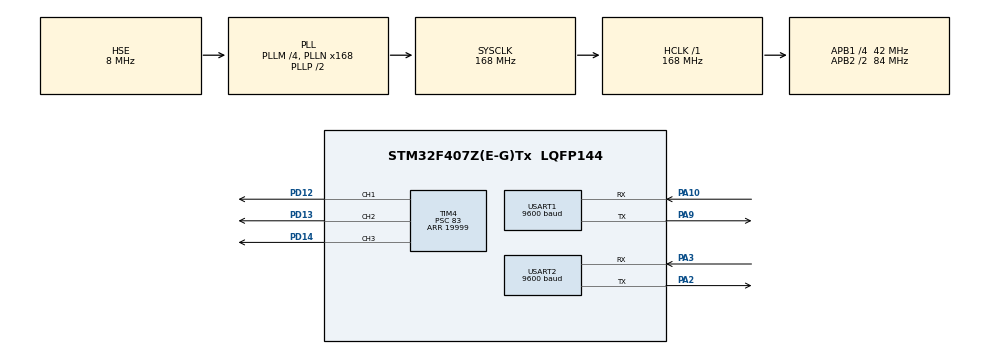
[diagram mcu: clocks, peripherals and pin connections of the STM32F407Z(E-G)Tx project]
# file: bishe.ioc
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Dma.Request0=USART1_RX
Dma.Request1=USART2_RX
Dma.USART1_RX.0.Direction=DMA_PERIPH_TO_MEMORY
Dma.USART1_RX.0.FIFOMode=DMA_FIFOMODE_DISABLE
Dma.USART1_RX.0.Instance=DMA2_Stream2
Dma.USART1_RX.0.MemDataAlignment=DMA_MDATAALIGN_BYTE
Dma.USART1_RX.0.MemInc=DMA_MINC_ENABLE
Dma.USART1_RX.0.Mode=DMA_CIRCULAR
Dma.USART1_RX.0.PeriphDataAlignment=DMA_PDATAALIGN_BYTE
Dma.USART1_RX.0.PeriphInc=DMA_PINC_DISABLE
Dma.USART1_RX.0.Priority=DMA_PRIORITY_HIGH
Dma.USART2_RX.1.Direction=DMA_PERIPH_TO_MEMORY
Dma.USART2_RX.1.FIFOMode=DMA_FIFOMODE_DISABLE
Dma.USART2_RX.1.Instance=DMA1_Stream5
Dma.USART2_RX.1.MemDataAlignment=DMA_MDATAALIGN_BYTE
Dma.USART2_RX.1.MemInc=DMA_MINC_ENABLE
Dma.USART2_RX.1.Mode=DMA_CIRCULAR
Dma.USART2_RX.1.PeriphDataAlignment=DMA_PDATAALIGN_BYTE
Dma.USART2_RX.1.PeriphInc=DMA_PINC_DISABLE
Dma.USART2_RX.1.Priority=DMA_PRIORITY_VERY_HIGH
Mcu.Family=STM32F4
Mcu.Name=STM32F407Z(E-G)Tx
Mcu.Package=LQFP144
NVIC.DMA1_Stream5_IRQn=true\:0\:0\:false\:false\:true\:false\:true\:true
NVIC.DMA2_Stream2_IRQn=true\:0\:0\:false\:false\:true\:false\:true\:true
NVIC.PriorityGroup=NVIC_PRIORITYGROUP_4
NVIC.TIM2_IRQn=true\:0\:0\:false\:false\:true\:true\:true\:true
NVIC.USART1_IRQn=true\:0\:0\:false\:false\:true\:true\:true\:true
NVIC.USART2_IRQn=true\:0\:0\:false\:false\:true\:true\:true\:true
PA10.Mode=Asynchronous
PA10.Signal=USART1_RX
PA13.Mode=Serial_Wire
PA13.Signal=SYS_JTMS-SWDIO
PA14.Mode=Serial_Wire
PA14.Signal=SYS_JTCK-SWCLK
PA2.Mode=Asynchronous
PA2.Signal=USART2_TX
PA3.Mode=Asynchronous
PA3.Signal=USART2_RX
PA9.Mode=Asynchronous
PA9.Signal=USART1_TX
PD12.Signal=S_TIM4_CH1
PD13.Signal=S_TIM4_CH2
PD14.Signal=S_TIM4_CH3
PH0-OSC_IN.Mode=HSE-External-Oscillator
PH0-OSC_IN.Signal=RCC_OSC_IN
PH1-OSC_OUT.Mode=HSE-External-Oscillator
PH1-OSC_OUT.Signal=RCC_OSC_OUT
ProjectManager.HeapSize=0x200
ProjectManager.StackSize=0x400
ProjectManager.TargetToolchain=MDK-ARM V5.32
RCC.48MHZClocksFreq_Value=84000000
RCC.AHBFreq_Value=168000000
RCC.APB1CLKDivider=RCC_HCLK_DIV4
RCC.APB1Freq_Value=42000000
RCC.APB1TimFreq_Value=84000000
RCC.APB2CLKDivider=RCC_HCLK_DIV2
RCC.APB2Freq_Value=84000000
RCC.APB2TimFreq_Value=168000000
RCC.CortexFreq_Value=168000000
RCC.HCLKFreq_Value=168000000
RCC.HSE_VALUE=8000000
RCC.HSI_VALUE=16000000
RCC.LSE_VALUE=32768
RCC.PLLM=4
RCC.PLLN=168
RCC.PLLSourceVirtual=RCC_PLLSOURCE_HSE
RCC.SYSCLKFreq_VALUE=168000000
RCC.SYSCLKSource=RCC_SYSCLKSOURCE_PLLCLK
RCC.VCOOutputFreq_Value=336000000
SH.S_TIM4_CH1.0=TIM4_CH1,PWM Generation1 CH1
SH.S_TIM4_CH2.0=TIM4_CH2,PWM Generation2 CH2
SH.S_TIM4_CH3.0=TIM4_CH3,PWM Generation3 CH3
TIM2.AutoReloadPreload=TIM_AUTORELOAD_PRELOAD_ENABLE
TIM2.Period=16799
TIM2.Prescaler=999
TIM2.TIM_MasterOutputTrigger=TIM_TRGO_UPDATE
TIM4.AutoReloadPreload=TIM_AUTORELOAD_PRELOAD_ENABLE
TIM4.Channel-PWM\ Generation1\ CH1=TIM_CHANNEL_1
TIM4.Channel-PWM\ Generation2\ CH2=TIM_CHANNEL_2
TIM4.Channel-PWM\ Generation3\ CH3=TIM_CHANNEL_3
TIM4.Period=19999
TIM4.Prescaler=83
USART1.BaudRate=9600
USART1.VirtualMode=VM_ASYNC
USART2.BaudRate=9600
USART2.VirtualMode=VM_ASYNC
VP_TIM2_VS_ClockSourceINT.Mode=Internal
VP_TIM4_VS_ClockSourceINT.Mode=Internal
board=custom

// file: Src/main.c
/* USER CODE BEGIN Header */
/**
  ******************************************************************************
  * @file           : main.c
  * @brief          : Main program body
  ******************************************************************************
  * @attention
  *
  * Copyright (c) 2025 STMicroelectronics.
  * All rights reserved.
  *
  * This software is licensed under terms that can be found in the LICENSE file
  * in the root directory of this software component.
  * If no LICENSE file comes with this software, it is provided AS-IS.
  *
  ******************************************************************************
  */
/* USER CODE END Header */
#include "main.h"
#include "dma.h"
#include "tim.h"
#include "usart.h"
#include "gpio.h"

/* USER CODE BEGIN Includes */
#include "stdio.h"
/* USER CODE END Includes */

/* USER CODE BEGIN PV */
#define UART_RX_BUFFER_SIZE 6   // 定义接收数据长度
#define UART_RX2_BUFFER_SIZE 4
uint8_t test[6]={0xAA,0xBB,0x01,0x02,0x01,0x5B};
uint8_t test1[6]={0xAA,0xBB,0x75,0x02,0x02,0x5B};
uint8_t test2[6]={0xAA,0xBB,0x01,0x22,0x03,0x5B};
uint8_t test3[6]={0xAA,0xBB,0xAB,0x43,0x04,0x5B};
uint8_t uart_rx_dma_buffer[UART_RX_BUFFER_SIZE];  // DMA 接收缓冲区
uint8_t uart_rx2_dma_buffer[UART_RX2_BUFFER_SIZE];
extern uint8_t rec_flag;
extern uint8_t obj_id;
extern uint8_t turnon;
extern uint8_t change_flag;
/* USER CODE END PV */

void SystemClock_Config(void);

/* USER CODE BEGIN 0 */

void Servo_SetAngle270(TIM_HandleTypeDef *htim, uint32_t channel, uint8_t angle, uint8_t speed)
{
    if (angle > 270)
		{
			angle = 270%360;
		}
    // 计算目标脉宽（单位：us）
    uint16_t pulse_result = 500 + (angle * 2000) / 270;

    // 获取当前脉宽
    uint16_t pulse_temp = __HAL_TIM_GET_COMPARE(htim, channel);

    while (abs(pulse_temp - pulse_result) > speed)
    {
        if (pulse_temp < pulse_result)
        {
            pulse_temp += speed;
        }
        else
        {
            pulse_temp -= speed;
        }

        __HAL_TIM_SET_COMPARE(htim, channel, pulse_temp);
        HAL_Delay(50); // 越小越快，可调
    }

    // 最后精确到目标值
    __HAL_TIM_SET_COMPARE(htim, channel, pulse_result);
}

void HAL_TIM_PeriodElapsedCallback(TIM_HandleTypeDef *htim)
	{

		 if(htim->Instance == TIM2)      //50Hz
	  {
			//printf("in tim2!\n");
       if(change_flag==1)
			 {
				 printf("change!\n");
				 change_flag=0;
				 Servo_SetAngle270(&htim4, TIM_CHANNEL_1, 135, 20);  //检测错误后，立刻归位，重新进入main函数选择更改后的投放方式
				 Servo_SetAngle270(&htim4, TIM_CHANNEL_2, 135, 20);
				 Servo_SetAngle270(&htim4, TIM_CHANNEL_3, 135, 20);
				 printf("识别纠正！\n");
								 if(uart_rx2_dma_buffer[2] == 0x01)
								 {
									 printf("应为纸板！\n");
								 }
								 else if(uart_rx2_dma_buffer[2] == 0x02)
								 {
									 printf("应为废纸！\n");
								 }
								 else if(uart_rx2_dma_buffer[2] == 0x03)
								 {
									 printf("应为瓶子！\n");
								 }
								 else if(uart_rx2_dma_buffer[2] == 0x04)
								 {
									 printf("应为电池！\n");
								 }
			 }
		}

	}

/* USER CODE END 0 */

int main(void)
{

  /* MCU Configuration--------------------------------------------------------*/

  /* Reset of all peripherals, Initializes the Flash interface and the Systick. */
  HAL_Init();

  /* Configure the system clock */
  SystemClock_Config();

  /* Initialize all configured peripherals */
  MX_GPIO_Init();
  MX_DMA_Init();
  MX_USART1_UART_Init();
  MX_USART2_UART_Init();
  MX_TIM4_Init();
  MX_TIM2_Init();
  /* USER CODE BEGIN 2 */
__HAL_TIM_SET_COMPARE(&htim4, TIM_CHANNEL_1, 1500);
__HAL_TIM_SET_COMPARE(&htim4, TIM_CHANNEL_2, 1500);
__HAL_TIM_SET_COMPARE(&htim4, TIM_CHANNEL_3, 1500);
	HAL_TIM_PWM_Start(&htim4, TIM_CHANNEL_1);
	HAL_TIM_PWM_Start(&htim4, TIM_CHANNEL_2);
	HAL_TIM_PWM_Start(&htim4, TIM_CHANNEL_3);
	//HAL_TIM_Base_Start_IT(&htim2);
	/*Servo_SetAngle270(&htim4, TIM_CHANNEL_3, 20, 20);
	HAL_Delay(2000);
	Servo_SetAngle270(&htim4, TIM_CHANNEL_3, 40, 20);
	HAL_Delay(2000);*/
	/*Servo_SetAngle270(&htim4, TIM_CHANNEL_3, 60, 20);
	HAL_Delay(2000);
	Servo_SetAngle270(&htim4, TIM_CHANNEL_3, 80, 20);
	HAL_Delay(2000);
	Servo_SetAngle270(&htim4, TIM_CHANNEL_3, 100, 20);
	HAL_Delay(2000);
	Servo_SetAngle270(&htim4, TIM_CHANNEL_3, 120, 20);
		HAL_Delay(2000);
	Servo_SetAngle270(&htim4, TIM_CHANNEL_3, 140, 20);
	HAL_Delay(2000);
	Servo_SetAngle270(&htim4, TIM_CHANNEL_3, 160, 20);*/
		/*Servo_SetAngle270(&htim4, TIM_CHANNEL_3, 40, 20);
		Servo_SetAngle270(&htim4, TIM_CHANNEL_1, 255, 20);
	  Servo_SetAngle270(&htim4, TIM_CHANNEL_3, 120, 20);
		HAL_Delay(2000);
		Servo_SetAngle270(&htim4, TIM_CHANNEL_1, 50, 20);
	  Servo_SetAngle270(&htim4, TIM_CHANNEL_2, 165, 20);
	  Servo_SetAngle270(&htim4, TIM_CHANNEL_3, 40, 20);
		HAL_Delay(2000);
		Servo_SetAngle270(&htim4, TIM_CHANNEL_1, 135, 20);
	  Servo_SetAngle270(&htim4, TIM_CHANNEL_2, 135, 20);
	  Servo_SetAngle270(&htim4, TIM_CHANNEL_3, 135, 20);*/
	/*Servo_SetAngle270(&htim4, TIM_CHANNEL_1, 135, 20);
	Servo_SetAngle270(&htim4, TIM_CHANNEL_2, 135, 20);
	Servo_SetAngle270(&htim4, TIM_CHANNEL_3, 135, 20);

	HAL_Delay(500);

		Servo_SetAngle270(&htim4, TIM_CHANNEL_1, 100, 20);
	Servo_SetAngle270(&htim4, TIM_CHANNEL_2, 100, 20);
	Servo_SetAngle270(&htim4, TIM_CHANNEL_3, 100, 20);*/
/*HAL_TIM_PWM_Start(&htim4, TIM_CHANNEL_1);
__HAL_TIM_SET_COMPARE(&htim4, TIM_CHANNEL_1, 1800); // 中位
HAL_Delay(2000);
__HAL_TIM_SET_COMPARE(&htim4, TIM_CHANNEL_1, 500);  // 最左
HAL_Delay(2000);
__HAL_TIM_SET_COMPARE(&htim4, TIM_CHANNEL_1, 2500); // 最右
HAL_Delay(2000);*/

/*HAL_TIM_PWM_Start(&htim4, TIM_CHANNEL_2);
__HAL_TIM_SET_COMPARE(&htim4, TIM_CHANNEL_2, 2000); // 中位
HAL_Delay(2000);*/
/*__HAL_TIM_SET_COMPARE(&htim4, TIM_CHANNEL_2, 500);  // 最左
HAL_Delay(2000);
__HAL_TIM_SET_COMPARE(&htim4, TIM_CHANNEL_2, 2500); // 最右
HAL_Delay(2000);*/

/*HAL_TIM_PWM_Start(&htim4, TIM_CHANNEL_3);
__HAL_TIM_SET_COMPARE(&htim4, TIM_CHANNEL_3, 2200); // 中位
HAL_Delay(2000);*/
/*__HAL_TIM_SET_COMPARE(&htim4, TIM_CHANNEL_3, 500);  // 最左
HAL_Delay(2000);
__HAL_TIM_SET_COMPARE(&htim4, TIM_CHANNEL_3, 2500); // 最右
HAL_Delay(2000);
*/
//uint8_t temp;
//HAL_UART_Receive_IT(&huart1, &temp, 1);  // 启动 UART 中断接收
HAL_UART_Receive_DMA(&huart1, uart_rx_dma_buffer, UART_RX_BUFFER_SIZE);
HAL_UART_Receive_DMA(&huart2, uart_rx2_dma_buffer, UART_RX2_BUFFER_SIZE);

  /* USER CODE END 2 */

  /* Infinite loop */
  while (1)
  {

    /* USER CODE BEGIN 3 */
//printf("1");
		if(change_flag==1)
			 {
				 printf("change!\n");
				 change_flag=0;
				 Servo_SetAngle270(&htim4, TIM_CHANNEL_1, 135, 20);  //检测错误后，立刻归位，重新进入main函数选择更改后的投放方式
				 Servo_SetAngle270(&htim4, TIM_CHANNEL_2, 135, 20);
				 Servo_SetAngle270(&htim4, TIM_CHANNEL_3, 135, 20);
				 printf("识别纠正！\n");
								 if(uart_rx2_dma_buffer[2] == 0x01)
								 {
									 printf("应为纸板！\n");
								 }
								 else if(uart_rx2_dma_buffer[2] == 0x02)
								 {
									 printf("应为废纸！\n");
								 }
								 else if(uart_rx2_dma_buffer[2] == 0x03)
								 {
									 printf("应为瓶子！\n");
								 }
								 else if(uart_rx2_dma_buffer[2] == 0x04)
								 {
									 printf("应为电池！\n");
								 }
							rec_flag=1;
			 }
		if(rec_flag==1&&turnon==0)
		{
			if(obj_id==1)//纸板
			{
		Servo_SetAngle270(&htim4, TIM_CHANNEL_3, 40, 20);// 爪子张开
		Servo_SetAngle270(&htim4, TIM_CHANNEL_1, 255, 20);  //向左倾斜
	  Servo_SetAngle270(&htim4, TIM_CHANNEL_3, 150, 20);  //爪子闭合
		HAL_Delay(500);
		Servo_SetAngle270(&htim4, TIM_CHANNEL_1, 50, 20);  //向右倾斜
	  Servo_SetAngle270(&htim4, TIM_CHANNEL_2, 155, 20);
	  Servo_SetAngle270(&htim4, TIM_CHANNEL_3, 40, 20);  //爪子放开
			}
			else if(obj_id==2)//废纸
			{
		Servo_SetAngle270(&htim4, TIM_CHANNEL_3, 40, 20);
		Servo_SetAngle270(&htim4, TIM_CHANNEL_1, 255, 20);
	  Servo_SetAngle270(&htim4, TIM_CHANNEL_3, 150, 20);
		HAL_Delay(500);
		Servo_SetAngle270(&htim4, TIM_CHANNEL_1, 50, 20);
	  Servo_SetAngle270(&htim4, TIM_CHANNEL_2, 195, 20);
	  Servo_SetAngle270(&htim4, TIM_CHANNEL_3, 40, 20);
			}
			else if(obj_id==3)//瓶子
			{
		Servo_SetAngle270(&htim4, TIM_CHANNEL_3, 40, 20);
		Servo_SetAngle270(&htim4, TIM_CHANNEL_1, 255, 20);
	  Servo_SetAngle270(&htim4, TIM_CHANNEL_3, 120, 20);
		HAL_Delay(500);
		Servo_SetAngle270(&htim4, TIM_CHANNEL_1, 50, 20);
	  Servo_SetAngle270(&htim4, TIM_CHANNEL_2, 105, 20);
	  Servo_SetAngle270(&htim4, TIM_CHANNEL_3, 40, 20);
			}
			else if(obj_id==4)//电池
			{
		Servo_SetAngle270(&htim4, TIM_CHANNEL_3, 40, 20);
		Servo_SetAngle270(&htim4, TIM_CHANNEL_1, 255, 20);
	  Servo_SetAngle270(&htim4, TIM_CHANNEL_3, 160, 20);
		HAL_Delay(500);
		Servo_SetAngle270(&htim4, TIM_CHANNEL_1, 50, 20);
	  Servo_SetAngle270(&htim4, TIM_CHANNEL_2, 105, 20);
	  Servo_SetAngle270(&htim4, TIM_CHANNEL_3, 40, 20);
			}
		HAL_Delay(500);
		Servo_SetAngle270(&htim4, TIM_CHANNEL_1, 135, 20);
	  Servo_SetAngle270(&htim4, TIM_CHANNEL_2, 135, 20);
	  Servo_SetAngle270(&htim4, TIM_CHANNEL_3, 135, 20);
			rec_flag=0;
		}

		//printf("sdfsdfsdfsdfxcv\n");
		//HAL_Delay(1000);
		/*SendDataToBLE(test, UART_RX_BUFFER_SIZE);
		HAL_Delay(1500);
		SendDataToBLE(test1, UART_RX_BUFFER_SIZE);
		HAL_Delay(1500);
		SendDataToBLE(test2, UART_RX_BUFFER_SIZE);
		HAL_Delay(1500);
		SendDataToBLE(test3, UART_RX_BUFFER_SIZE);
		HAL_Delay(1500);*/
		// 舵机1设置到45°
/*Servo_SetAngle270(&htim4, TIM_CHANNEL_1, 90);

// 舵机2设置到180°
Servo_SetAngle270(&htim4, TIM_CHANNEL_2, 90);

// 舵机3设置到270°（最大值）
Servo_SetAngle270(&htim4, TIM_CHANNEL_3, 90);
HAL_Delay(3000);
Servo_SetAngle270(&htim4, TIM_CHANNEL_1, 250);

// 舵机2设置到180°
Servo_SetAngle270(&htim4, TIM_CHANNEL_2, 250);

// 舵机3设置到270°（最大值）
Servo_SetAngle270(&htim4, TIM_CHANNEL_3, 250);*/
/*__HAL_TIM_SetCompare(&htim4,TIM_CHANNEL_1,speed);
__HAL_TIM_SetCompare(&htim4,TIM_CHANNEL_2,speed);
__HAL_TIM_SetCompare(&htim4,TIM_CHANNEL_3,speed);
speed=speed+10;
HAL_Delay(1000);*/
  }
  /* USER CODE END 3 */
}

void SystemClock_Config(void)
{
  RCC_OscInitTypeDef RCC_OscInitStruct = {0};
  RCC_ClkInitTypeDef RCC_ClkInitStruct = {0};

  /** Configure the main internal regulator output voltage
  */
  __HAL_RCC_PWR_CLK_ENABLE();
  __HAL_PWR_VOLTAGESCALING_CONFIG(PWR_REGULATOR_VOLTAGE_SCALE1);

  /** Initializes the RCC Oscillators according to the specified parameters
  * in the RCC_OscInitTypeDef structure.
  */
  RCC_OscInitStruct.OscillatorType = RCC_OSCILLATORTYPE_HSE;
  RCC_OscInitStruct.HSEState = RCC_HSE_ON;
  RCC_OscInitStruct.PLL.PLLState = RCC_PLL_ON;
  RCC_OscInitStruct.PLL.PLLSource = RCC_PLLSOURCE_HSE;
  RCC_OscInitStruct.PLL.PLLM = 4;
  RCC_OscInitStruct.PLL.PLLN = 168;
  RCC_OscInitStruct.PLL.PLLP = RCC_PLLP_DIV2;
  RCC_OscInitStruct.PLL.PLLQ = 4;
  if (HAL_RCC_OscConfig(&RCC_OscInitStruct) != HAL_OK)
  {
    Error_Handler();
  }

  /** Initializes the CPU, AHB and APB buses clocks
  */
  RCC_ClkInitStruct.ClockType = RCC_CLOCKTYPE_HCLK|RCC_CLOCKTYPE_SYSCLK
                              |RCC_CLOCKTYPE_PCLK1|RCC_CLOCKTYPE_PCLK2;
  RCC_ClkInitStruct.SYSCLKSource = RCC_SYSCLKSOURCE_PLLCLK;
  RCC_ClkInitStruct.AHBCLKDivider = RCC_SYSCLK_DIV1;
  RCC_ClkInitStruct.APB1CLKDivider = RCC_HCLK_DIV4;
  RCC_ClkInitStruct.APB2CLKDivider = RCC_HCLK_DIV2;

  if (HAL_RCC_ClockConfig(&RCC_ClkInitStruct, FLASH_LATENCY_5) != HAL_OK)
  {
    Error_Handler();
  }
}

/* USER CODE BEGIN 4 */
int fputc(int ch,FILE *f)
{
	 HAL_UART_Transmit(&huart1,(uint8_t*)&ch,1,HAL_MAX_DELAY);
return ch;
}
int fgetc(FILE*f)
{
	uint8_t ch;
	HAL_UART_Receive(&huart1,(uint8_t*)&ch,1,HAL_MAX_DELAY);
	return ch;
}
/* USER CODE END 4 */

void Error_Handler(void)
{
  __disable_irq();
  while (1)
  {
  }
}
